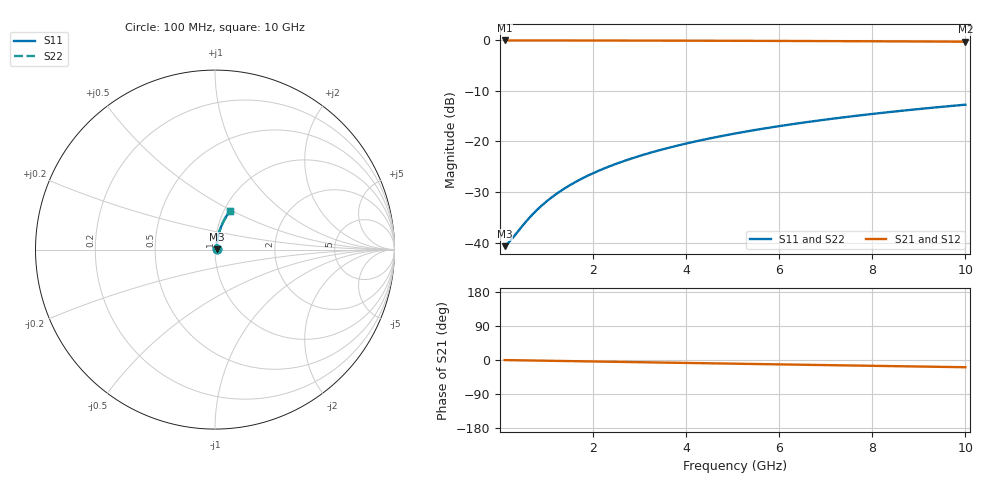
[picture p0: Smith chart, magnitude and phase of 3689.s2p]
# Hz S RI R 50.00
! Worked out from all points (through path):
!   100 points, 100 MHz to 10 GHz, reference 50 ohm
!   highest |S21| = -0.08 dB at 100 MHz (marker M1); lowest = -0.3 dB at 10 GHz (marker M2)
!   group delay of S21, straight-line fit = 5.3 ps
!   lowest |S11| = -40.7 dB at 100 MHz (marker M3), VSWR 1.02, Z = 50.9 + j0.239 ohm
!   |S11| at or under -10 dB: start of sweep to end of sweep
!   |S22| runs from -40.7 to -12.8 dB; largest |S21 - S12| = 0
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1e8  0.00893 0.00235  0.9911 -0.00335  0.9911 -0.00335  0.00893 0.00235
2e8  0.00901 0.0047  0.991 -0.0067  0.991 -0.0067  0.00901 0.0047
6e8  0.0094 0.0141  0.9906 -0.0201  0.9906 -0.0201  0.0094 0.0141
7e8  0.00953 0.0164  0.9904 -0.0234  0.9904 -0.0234  0.00953 0.0164
9e8  0.00982 0.0211  0.9901 -0.0301  0.9901 -0.0301  0.00982 0.0211
1.1e9  0.0102 0.0258  0.9898 -0.0368  0.9898 -0.0368  0.0102 0.0258
1.3e9  0.0106 0.0305  0.9893 -0.0435  0.9893 -0.0435  0.0106 0.0305
1.5e9  0.0111 0.0352  0.9888 -0.0501  0.9888 -0.0501  0.0111 0.0352
1.8e9  0.0119 0.0422  0.9879 -0.0601  0.9879 -0.0601  0.0119 0.0422
2.1e9  0.0128 0.0491  0.9869 -0.0701  0.9869 -0.0701  0.0128 0.0491
2.5e9  0.0143 0.0584  0.9853 -0.0833  0.9853 -0.0833  0.0143 0.0584
2.9e9  0.0161 0.0676  0.9835 -0.0965  0.9835 -0.0965  0.0161 0.0676
3.4e9  0.0186 0.079  0.9808 -0.1129  0.9808 -0.1129  0.0186 0.079
3.8e9  0.0209 0.088  0.9784 -0.126  0.9784 -0.126  0.0209 0.088
4.2e9  0.0234 0.097  0.9757 -0.139  0.9757 -0.139  0.0234 0.097
4.6e9  0.0261 0.1059  0.9728 -0.1519  0.9728 -0.1519  0.0261 0.1059
5.1e9  0.0299 0.1169  0.9688 -0.1679  0.9688 -0.1679  0.0299 0.1169
5.9e9  0.0366 0.1341  0.9615 -0.1931  0.9615 -0.1931  0.0366 0.1341
6.7e9  0.0443 0.1509  0.9534 -0.2179  0.9534 -0.2179  0.0443 0.1509
7.5e9  0.0527 0.1672  0.9444 -0.2423  0.9444 -0.2423  0.0527 0.1672
8.4e9  0.0632 0.1848  0.9332 -0.269  0.9332 -0.269  0.0632 0.1848
1e10  0.0841 0.2143  0.9107 -0.3146  0.9107 -0.3146  0.0841 0.2143
